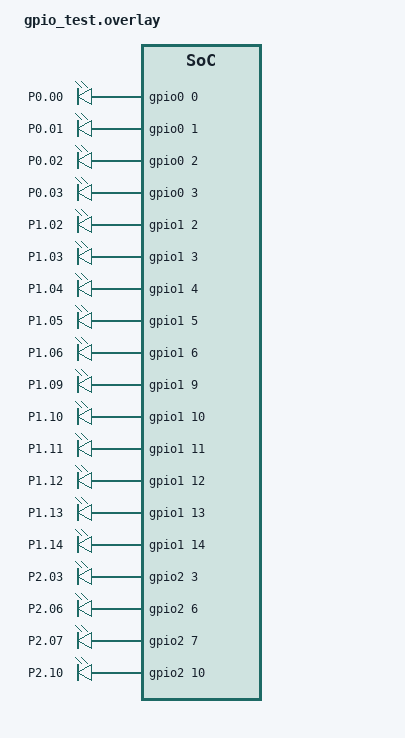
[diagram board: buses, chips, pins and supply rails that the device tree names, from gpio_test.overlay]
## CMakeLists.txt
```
cmake_minimum_required(VERSION 3.20.0)
list(APPEND BOARD_ROOT ${CMAKE_CURRENT_SOURCE_DIR}/../)
find_package(Zephyr REQUIRED HINTS $ENV{ZEPHYR_BASE})

project(gpio_test)

target_sources(app PRIVATE src/main.c)
```

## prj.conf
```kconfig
CONFIG_GPIO=y

CONFIG_LOG=y
CONFIG_LOG_BACKEND_RTT=y
CONFIG_USE_SEGGER_RTT=y
CONFIG_LOG_MODE_IMMEDIATE=y
CONFIG_RTT_CONSOLE=y
CONFIG_CONSOLE=y
CONFIG_PRINTK=y
```

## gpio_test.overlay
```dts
#include <zephyr/dt-bindings/gpio/gpio.h>

/ {
    module_test_gpios {
        compatible = "gpio-leds";

        test_p0_00: test_p0_00 { gpios = <&gpio0 0 GPIO_ACTIVE_HIGH>; label = "P0.00"; };
        test_p0_01: test_p0_01 { gpios = <&gpio0 1 GPIO_ACTIVE_HIGH>; label = "P0.01"; };    
        test_p0_02: test_p0_02 { gpios = <&gpio0 2 GPIO_ACTIVE_HIGH>; label = "P0.02"; };
        test_p0_03: test_p0_03 { gpios = <&gpio0 3 GPIO_ACTIVE_HIGH>; label = "P0.03"; };

        test_p1_02: test_p1_02 { gpios = <&gpio1 2 GPIO_ACTIVE_HIGH>; label = "P1.02"; };
        test_p1_03: test_p1_03 { gpios = <&gpio1 3 GPIO_ACTIVE_HIGH>; label = "P1.03"; };
        test_p1_04: test_p1_04 { gpios = <&gpio1 4 GPIO_ACTIVE_HIGH>; label = "P1.04"; };
        test_p1_05: test_p1_05 { gpios = <&gpio1 5 GPIO_ACTIVE_HIGH>; label = "P1.05"; };
        test_p1_06: test_p1_06 { gpios = <&gpio1 6 GPIO_ACTIVE_HIGH>; label = "P1.06"; };
        
        test_p1_09: test_p1_09 { gpios = <&gpio1 9 GPIO_ACTIVE_HIGH>; label = "P1.09"; };
        test_p1_10: test_p1_10 { gpios = <&gpio1 10 GPIO_ACTIVE_HIGH>; label = "P1.10"; };
        test_p1_11: test_p1_11 { gpios = <&gpio1 11 GPIO_ACTIVE_HIGH>; label = "P1.11"; };
        test_p1_12: test_p1_12 { gpios = <&gpio1 12 GPIO_ACTIVE_HIGH>; label = "P1.12"; };
        test_p1_13: test_p1_13 { gpios = <&gpio1 13 GPIO_ACTIVE_HIGH>; label = "P1.13"; };
        test_p1_14: test_p1_14 { gpios = <&gpio1 14 GPIO_ACTIVE_HIGH>; label = "P1.14"; };

        test_p2_03: test_p2_03 { gpios = <&gpio2 3 GPIO_ACTIVE_HIGH>; label = "P2.03"; };
        test_p2_06: test_p2_06 { gpios = <&gpio2 6 GPIO_ACTIVE_HIGH>; label = "P2.06"; };
        test_p2_07: test_p2_07 { gpios = <&gpio2 7 GPIO_ACTIVE_HIGH>; label = "P2.07"; };
        test_p2_10: test_p2_10 { gpios = <&gpio2 10 GPIO_ACTIVE_HIGH>; label = "P2.10"; };
    };
};


&gpiote20 {status = "okay";};
&gpiote30 {status = "okay";};

&gpio0 { status = "okay"; };
&gpio1 { status = "okay"; };
&gpio2 { status = "okay"; };
```

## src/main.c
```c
#include <zephyr/drivers/gpio.h>
#include <zephyr/kernel.h>
#include <zephyr/logging/log.h>

LOG_MODULE_REGISTER(gpio_logger, LOG_LEVEL_DBG);

static const struct gpio_dt_spec toggle_pin =
    GPIO_DT_SPEC_GET(DT_NODELABEL(test_p2_10), gpios);

int main(void) {
    int ret;

    if (!gpio_is_ready_dt(&toggle_pin)) {
        LOG_INF("GPIO not ready");
        return 0;
    }

    ret = gpio_pin_configure_dt(&toggle_pin, GPIO_OUTPUT_ACTIVE);
    if (ret < 0) {
        LOG_ERR("GPIO config error (%d)", ret);
        return 0;
    }

    while (1) {
        ret = gpio_pin_toggle_dt(&toggle_pin);
        if (ret < 0) {
            LOG_ERR("GPIO toggle error (%d)", ret);
            return 0;
        }

        LOG_INF("test");

        k_msleep(1000);
    }

    return 0;
}
```
